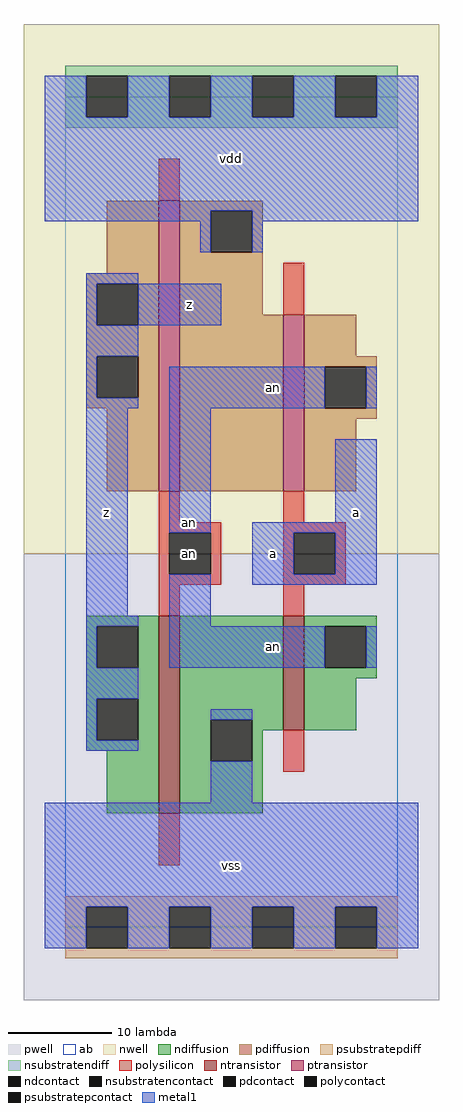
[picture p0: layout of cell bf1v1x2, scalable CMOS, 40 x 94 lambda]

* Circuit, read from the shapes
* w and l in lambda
.subckt bf1v1x2 a an vdd vss z
M1 vss an z vss nfet w=19 l=2
M2 an a vss vss nfet w=11 l=2
M3 vdd an z vdd pfet w=28 l=2
M4 an a vdd vdd pfet w=17 l=2
.ends

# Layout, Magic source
magic
tech scmos
<< ab >>
rect 0 0 32 80
<< pwell >>
rect -4 -7 36 36
<< nwell >>
rect -4 36 36 87
<< polysilicon >>
rect 9 70 11 74
rect 21 59 23 64
rect 9 39 11 42
rect 21 39 23 42
rect 9 38 15 39
rect 9 34 10 38
rect 14 34 15 38
rect 9 33 15 34
rect 21 38 27 39
rect 21 34 22 38
rect 26 34 27 38
rect 21 33 27 34
rect 9 30 11 33
rect 21 30 23 33
rect 21 15 23 19
rect 9 6 11 11
<< ndiffusion >>
rect 2 29 9 30
rect 2 25 3 29
rect 7 25 9 29
rect 2 22 9 25
rect 2 18 3 22
rect 7 18 9 22
rect 2 17 9 18
rect 4 11 9 17
rect 11 20 21 30
rect 11 16 14 20
rect 18 19 21 20
rect 23 29 30 30
rect 23 25 25 29
rect 29 25 30 29
rect 23 24 30 25
rect 23 19 28 24
rect 18 16 19 19
rect 11 11 19 16
<< pdiffusion >>
rect 4 63 9 70
rect 2 62 9 63
rect 2 58 3 62
rect 7 58 9 62
rect 2 55 9 58
rect 2 51 3 55
rect 7 51 9 55
rect 2 50 9 51
rect 4 42 9 50
rect 11 69 19 70
rect 11 65 14 69
rect 18 65 19 69
rect 11 59 19 65
rect 11 42 21 59
rect 23 55 28 59
rect 23 54 30 55
rect 23 50 25 54
rect 29 50 30 54
rect 23 49 30 50
rect 23 42 28 49
<< metal1 >>
rect -2 78 2 82
rect 6 78 10 82
rect 14 78 18 82
rect 22 78 26 82
rect 30 78 34 82
rect -2 69 34 78
rect -2 68 14 69
rect 13 65 14 68
rect 18 68 34 69
rect 18 65 19 68
rect 2 62 7 63
rect 2 58 3 62
rect 7 58 15 62
rect 2 55 7 58
rect 2 51 3 55
rect 2 50 7 51
rect 10 50 25 54
rect 29 50 30 54
rect 2 30 6 50
rect 10 38 14 50
rect 26 39 30 47
rect 2 29 7 30
rect 2 25 3 29
rect 10 29 14 34
rect 18 38 30 39
rect 18 34 22 38
rect 26 34 30 38
rect 18 33 30 34
rect 10 25 25 29
rect 29 25 30 29
rect 2 22 7 25
rect 2 18 3 22
rect 2 17 7 18
rect 14 20 18 21
rect 14 12 18 16
rect -2 2 34 12
rect -2 -2 2 2
rect 6 -2 10 2
rect 14 -2 18 2
rect 22 -2 26 2
rect 30 -2 34 2
<< ntransistor >>
rect 9 11 11 30
rect 21 19 23 30
<< ptransistor >>
rect 9 42 11 70
rect 21 42 23 59
<< polycontact >>
rect 10 34 14 38
rect 22 34 26 38
<< ndcontact >>
rect 3 25 7 29
rect 3 18 7 22
rect 14 16 18 20
rect 25 25 29 29
<< pdcontact >>
rect 3 58 7 62
rect 3 51 7 55
rect 14 65 18 69
rect 25 50 29 54
<< psubstratepcontact >>
rect 2 -2 6 2
rect 10 -2 14 2
rect 18 -2 22 2
rect 26 -2 30 2
<< nsubstratencontact >>
rect 2 78 6 82
rect 10 78 14 82
rect 18 78 22 82
rect 26 78 30 82
<< psubstratepdiff >>
rect 0 2 32 3
rect 0 -2 2 2
rect 6 -2 10 2
rect 14 -2 18 2
rect 22 -2 26 2
rect 30 -2 32 2
rect 0 -3 32 -2
<< nsubstratendiff >>
rect 0 82 32 83
rect 0 78 2 82
rect 6 78 10 82
rect 14 78 18 82
rect 22 78 26 82
rect 30 78 32 82
rect 0 77 32 78
<< labels >>
rlabel polycontact 12 36 12 36 6 an
rlabel metal1 4 40 4 40 6 z
rlabel metal1 12 39 12 39 6 an
rlabel metal1 12 60 12 60 6 z
rlabel metal1 16 6 16 6 6 vss
rlabel metal1 20 36 20 36 6 a
rlabel metal1 16 74 16 74 6 vdd
rlabel metal1 20 27 20 27 6 an
rlabel metal1 28 40 28 40 6 a
rlabel metal1 20 52 20 52 6 an
<< end >>
